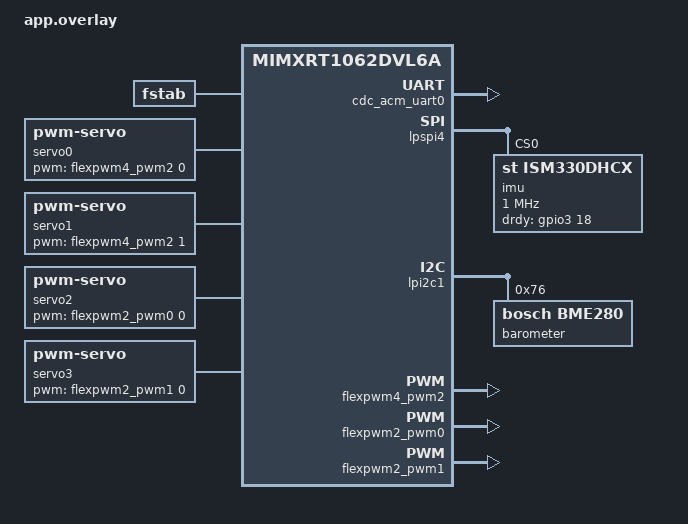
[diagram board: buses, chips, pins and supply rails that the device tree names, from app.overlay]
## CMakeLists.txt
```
cmake_minimum_required(VERSION 3.20.0)
find_package(Zephyr REQUIRED HINTS $ENV{ZEPHYR_BASE})
project(my_app)

include(${CMAKE_CURRENT_SOURCE_DIR}/sources.cmake)
```

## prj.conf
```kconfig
CONFIG_SERIAL=y
CONFIG_CONSOLE=y
CONFIG_UART_CONSOLE=y
CONFIG_STDOUT_CONSOLE=y
CONFIG_UART_LINE_CTRL=y

CONFIG_USB_DEVICE_STACK_NEXT=y
CONFIG_CDC_ACM_SERIAL_INITIALIZE_AT_BOOT=y
CONFIG_CDC_ACM_SERIAL_PID=0x0004
CONFIG_CDC_ACM_SERIAL_PRODUCT_STRING="USBD console sample"


CONFIG_SENSOR=y
CONFIG_SENSOR_ASYNC_API=y

CONFIG_RTIO=y
CONFIG_RTIO_SUBMIT_SEM=y

CONFIG_ISM330DHCX=y
CONFIG_ISM330DHCX_TRIGGER_GLOBAL_THREAD=y
CONFIG_SPI=y
CONFIG_SPI_RTIO=y
CONFIG_I2C=y
CONFIG_I2C_RTIO=y
CONFIG_GPIO=y
CONFIG_PWM=y

CONFIG_SENSOR_LOG_LEVEL_DBG=y
# CONFIG_SPI_LOG_LEVEL_DBG=y
# CONFIG_I2C_LOG_LEVEL_DBG=y
CONFIG_LOG=y

CONFIG_CBPRINTF_FP_SUPPORT=y
CONFIG_CBPRINTF_FULL_INTEGRAL=y
CONFIG_CBPRINTF_FP_A_SUPPORT=y

CONFIG_CMSIS_DSP=y
CONFIG_CMSIS_DSP_FILTERING=y

CONFIG_BOOT_DELAY=1000

CONFIG_CPP=y
CONFIG_STD_CPP17=y
CONFIG_RING_BUFFER=y

# Persistent log on the onboard flash, see logger.h.
CONFIG_FLASH=y
CONFIG_FLASH_MAP=y
CONFIG_FILE_SYSTEM=y
CONFIG_FILE_SYSTEM_LITTLEFS=y
```

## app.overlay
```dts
#include <zephyr/dt-bindings/sensor/ism330dhcx.h>
#include <nxp/nxp_imx/rt/mimxrt1062dvl6a-pinctrl.dtsi>

/ {
    chosen {
        zephyr,console = &cdc_acm_uart0;
        zephyr,shell-uart = &cdc_acm_uart0;
    };

    fstab {
        compatible = "zephyr,fstab";

        lfs: lfs {
            compatible = "zephyr,fstab,littlefs";
            mount-point = "/lfs";
            partition = <&storage_partition>;
            automount;
            read-size = <16>;
            prog-size = <16>;
            cache-size = <256>;
            lookahead-size = <32>;
            block-cycles = <512>;
        };
    };
    
	aliases {
		stream0 = &imu;
		stream1 = &barometer;
	};

    servo0: servo0 {
        compatible = "pwm-servo";
        pwms = <&flexpwm4_pwm2 0 PWM_MSEC(20) PWM_POLARITY_NORMAL>;
        min-pulse = <PWM_USEC(400)>;
        max-pulse = <PWM_USEC(2400)>;
    };

    servo1: servo1 {
        compatible = "pwm-servo";
        pwms = <&flexpwm4_pwm2 1 PWM_MSEC(20) PWM_POLARITY_NORMAL>;
        min-pulse = <PWM_USEC(400)>;
        max-pulse = <PWM_USEC(2400)>;
    };

    servo2: servod {
        compatible = "pwm-servo";
        pwms = <&flexpwm2_pwm0 0 PWM_MSEC(10) PWM_POLARITY_NORMAL>;
        min-pulse = <PWM_USEC(400)>;
        max-pulse = <PWM_USEC(2400)>;
    };

    servo3: servo3 {
        compatible = "pwm-servo";
        pwms = <&flexpwm2_pwm1 0 PWM_MSEC(20) PWM_POLARITY_NORMAL>;
        min-pulse = <PWM_USEC(400)>;
        max-pulse = <PWM_USEC(2400)>;
    };
};

&zephyr_udc0 {
    cdc_acm_uart0: cdc_acm_uart0 {
        compatible = "zephyr,cdc-acm-uart";
    };
};

&gpio3 {
    status = "okay";
};

/* Arduino SPI header (pins 10-13) on LPSPI4 */
&lpspi4 {
    transfer-delay = <50>;
    status = "okay";   
    pinctrl-0 = <&pinmux_lpspi4>;
    pcs-sck-delay= <25>;
    sck-pcs-delay= <25>;
    pinctrl-names = "default";

    //cs-gpios = <&gpio2 0 GPIO_ACTIVE_LOW>;

    imu: aism330dhcx@0 {
        compatible = "st,ism330dhcx";
        reg = <0>;
        spi-max-frequency = <1000000>;
        drdy-gpios = <&gpio3 18 GPIO_ACTIVE_HIGH>; //, <&gpio4 32 GPIO_ACTIVE_HIGH>;

        accel-odr = <ISM330DHCX_DT_ODR_1666Hz>;
        gyro-odr  = <ISM330DHCX_DT_ODR_1666Hz>;

        accel-range = <8>;      /* ±8 g */
        gyro-range  = <2000>;   /* ±2000 dps */
    };
};

&lpi2c1 {
    status = "okay";
    pinctrl-0 = <&pinmux_lpi2c1>;
    pinctrl-names = "default";

    barometer: bme280@76 {
        compatible = "bosch,bme280";
        reg = <0x76>;
    };
};

&pinctrl {
	pinmux_flexpwm4_ch2: pinmux_flexpwm4_ch2 {
		group0 {
			pinmux = <&iomuxc_gpio_emc_04_flexpwm4_pwma2>, //output A
                    <&iomuxc_gpio_emc_05_flexpwm4_pwmb2>; //output B
			drive-strength = "r0-7";
			slew-rate = "fast";
			nxp,speed = "200-mhz";
		};
	};

	pinmux_flexpwm2_ch0: pinmux_flexpwm4_ch0 {
		group0 {
			pinmux = <&iomuxc_gpio_emc_06_flexpwm2_pwma0>; //output A
			drive-strength = "r0-7";
			slew-rate = "fast";
			nxp,speed = "200-mhz";
		};
	};

	pinmux_flexpwm2_ch1: pinmux_flexpwm4_ch1 {
		group0 {
			pinmux = <&iomuxc_gpio_emc_08_flexpwm2_pwma1>; //output A
			drive-strength = "r0-7";
			slew-rate = "fast";
			nxp,speed = "200-mhz";
		};
	};
};

&flexpwm4_pwm2 {
	status = "okay";
	pinctrl-0 = <&pinmux_flexpwm4_ch2>;
	pinctrl-names = "default";
	nxp,prescaler = <64>;
    nxp,reload = "immediate";
};

&flexpwm2_pwm0 {
	status = "okay";
	pinctrl-0 = <&pinmux_flexpwm2_ch0>;
	pinctrl-names = "default";
	nxp,prescaler = <64>;
    nxp,reload = "immediate";
};

&flexpwm2_pwm1 {
	status = "okay";
	pinctrl-0 = <&pinmux_flexpwm2_ch1>;
	pinctrl-names = "default";
	nxp,prescaler = <64>;
    nxp,reload = "immediate";
};


/* Log storage on the onboard flash. The firmware sits at the bottom; Teensy
 * keeps its EEPROM emulation and recovery image in the top 256 KiB, from
 * 0x7c0000, so stay below that. */
&w25q64jvxgim {
    partitions {
        compatible = "fixed-partitions";
        #address-cells = <1>;
        #size-cells = <1>;

        storage_partition: partition@600000 {
            label = "storage";
            reg = <0x600000 DT_SIZE_K(1792)>;
        };
    };
};

/* The LPI2C pins are open drain. Without a sensor board (and its pull-ups) the
 * bus floats low and the BME280 probe waits forever, so boot never finishes.
 * Weak internal pull-ups make the probe fail cleanly instead; external
 * pull-ups on the real board still dominate. */
&pinmux_lpi2c1 {
    group0 {
        bias-pull-up;
        bias-pull-up-value = "22k";
    };
};
```

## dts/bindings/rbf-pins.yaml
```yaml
description: Pad configuration for the RBF pin

compatible: "app,rbf-pins"

include: [base.yaml, pinctrl-device.yaml]
```

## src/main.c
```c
#include <arm_math.h>
#include <assert.h>
#include <math.h>
#include <stdint.h>
#include <zephyr/drivers/pwm.h>
#include <zephyr/drivers/sensor.h>
#include <zephyr/kernel.h>
#include <zephyr/sys/printk.h>

#include "dsp/controller_functions.h"
#include "dsp/filtering_functions.h"
#include "guidance/filters.h"
#include "guidance/kalman.h"
#include "guidance/pid.h"
#include "logger.h"
#include "math/linmath.h"
#include "sensors.h"
#include "servo.h"
#include "zephyr/sys/time_units.h"

#define IMU_NODE DT_NODELABEL(imu)
#define BAROMETER_NODE DT_NODELABEL(barometer)

static const struct device *imu = DEVICE_DT_GET(IMU_NODE);
static const struct device *barometer = DEVICE_DT_GET(BAROMETER_NODE);

#define STEP PWM_USEC(10)

enum direction {
    DOWN,
    UP,
};

#define TASK_BAROMETER_READ_STACK_SIZE 4096
#define TASK_BAROMETER_READ_PRIORITY 1

K_THREAD_DEFINE(
    task_barometer_read_thread_id,
    TASK_BAROMETER_READ_STACK_SIZE,
    task_barometer_read,
    &barometer,
    NULL,
    NULL,
    TASK_BAROMETER_READ_PRIORITY,
    0,
    0
);

static int sweep_servo(const servo_t servo) {
    float angle = -90.0f;  // start at minimum position
    enum direction dir = UP;
    int ret;

    printk("Servomotor control (angle based)\n");

    if (!pwm_is_ready_dt(&servo.spec)) {
        printk("Error: PWM device %s is not ready\n", servo.spec.dev->name);
        return -ENODEV;
    }

    while (1) {
        ret = servo_set_angle(servo, angle);
        if (ret < 0) {
            printk("Error %d: failed to set angle %.1f\n", ret, (double)angle);
            return ret;
        }

        // Step size = degrees per iteration
        const float step_size = 1.0f;

        if (dir == UP) {
            angle += step_size;
            if (angle >= 90.0f) {
                angle = 90.0f;
                dir = DOWN;
            }
        } else {
            angle -= step_size;
            if (angle <= -90.0f) {
                angle = -90.0f;
                dir = UP;
            }
        }

        k_sleep(K_MSEC(20));  // Smooth sweep speed
    }

    return 0;
}

double pressure_to_altitude(double pressure_pa) {
    const double P0 = 101325.0;  // Sea level pressure (Pa)
    const double T0 = 288.15;  // Sea level temperature (K)
    const double L = 0.0065;  // Temperature lapse rate (K/m)
    const double g = 9.80665;  // Gravity (m/s²)
    const double R = 287.05;  // Specific gas constant (J/(kg·K))

    // Barometric formula: h = (T0 / L) * (1 - (P / P0)^(R*L/g))
    double exponent = (R * L) / g;
    double altitude = (T0 / L) * (1.0 - pow(pressure_pa / P0, exponent));

    return altitude;
}

void print_acceleration(const imu_sample_t *sample) {
    printf(
        "Acceleration [m/s²]: X=%f, Y=%f, Z=%f\n",
        (double)sample->acceleration[0],
        (double)sample->acceleration[1],
        (double)sample->acceleration[2]
    );
}

void transform_coords(imu_sample_t *imu_sample) {
    vec3 acc_old;
    vec3 gyro_old;
    vec3_dup(acc_old, imu_sample->acceleration);
    vec3_dup(gyro_old, imu_sample->angular_rate);

    imu_sample->acceleration[0] = -acc_old[2];
    imu_sample->acceleration[1] = acc_old[1];
    imu_sample->acceleration[2] = acc_old[0];

    imu_sample->angular_rate[0] = -gyro_old[2];
    imu_sample->angular_rate[1] = gyro_old[1];
    imu_sample->angular_rate[2] = gyro_old[0];
}

LINMATH_H_FUNC float quat_get_roll(quat const q) {
    float x = q[0];
    float y = q[1];
    float z = q[2];
    float w = q[3];

    float siny_cosp = 2.f * (w * z + x * y);
    float cosy_cosp = 1.f - 2.f * (y * y + z * z);

    return atan2f(siny_cosp, cosy_cosp);
}

int main(void) {
    barometer_init(barometer);
    viikate_log("barometer...", device_is_ready(barometer) ? "ok" : "failed");
    imu_init(imu);
    viikate_log("imu...", device_is_ready(imu) ? "ok" : "failed");

    imu_sample_t imu_sample;
    barometer_sample_t baro_sample;
    int ret;

    assert(imu_filter != NULL);

    float drift_last = 0.0f;

    vec3 avg_accel = {0}, avg_gyro = {0};

    vec3 g = {0};
#define AVG_COUNT 256
    for (int k_idx = 0; k_idx < AVG_COUNT; ++k_idx) {
        ret = k_msgq_get(&imu_msgq, &imu_sample, K_FOREVER);
        transform_coords(&imu_sample);
        vec3_add(g, g, imu_sample.acceleration);
    }
    vec3_scale(g, g, 1.0f / AVG_COUNT);

    kalman_filter_t k = kalman_init(g);

#define AVG_COUNT 256
    for (int k_idx = 0; k_idx < AVG_COUNT; ++k_idx) {
        ret = k_msgq_get(&imu_msgq, &imu_sample, K_FOREVER);
        transform_coords(&imu_sample);
        vec3 a;
        vec3_sub(a, imu_sample.acceleration, g);

        vec3_add(avg_accel, avg_accel, a);
        vec3_add(avg_gyro, avg_gyro, imu_sample.angular_rate);
    }

    vec3_scale(avg_accel, avg_accel, 1.0f / AVG_COUNT);
    vec3_scale(avg_gyro, avg_gyro, 1.0f / AVG_COUNT);

    vec3_dup(k.gyroscope_bias, avg_gyro);
    vec3_dup(k.accelerometer_bias, avg_accel);

    float base_altitude = 0.0f;
    for (int k_idx = 0; k_idx < 8; ++k_idx) {
        ret = k_msgq_get(&barometer_msgq, &baro_sample, K_FOREVER);

        base_altitude += pressure_to_altitude((double)baro_sample.pressure);
    }

    base_altitude *= 1.0f / 8;

    uint32_t loop_counter = 0;
    uint64_t time = 0;
    int loops = 0;

    roll_control_reset();

    while (1) {
        uint64_t start = k_ticks_to_ns_floor64(k_uptime_ticks());

        /* Read IMU if data is available */
        while ((ret = k_msgq_get(&imu_msgq, &imu_sample, K_NO_WAIT)) == 0) {
            transform_coords(&imu_sample);
            ekf_predict(&k, imu_sample);
            loops++;
        }

        time += k_ticks_to_ns_floor64(k_uptime_ticks()) - start;

        while ((ret = k_msgq_get(&barometer_msgq, &baro_sample, K_NO_WAIT))
               == 0) {
            float altitude = (float)pressure_to_altitude(baro_sample.pressure)
                - base_altitude;
            k.position[1] = altitude;
        }

        /* Print state every 500 iterations (~500 ms at 1 kHz) */
        if (loop_counter % 500 == 0) {
            printk(
                "loops: %d total_time: %f time_per_kalman: %f\n",
                loops,
                (double)((float)time * 1e-9f),
                (double)((float)time * 1e-9f / (float)(loops > 0 ? loops : 1))
            );
            printk(
                "STATE:\n"
                "    pos = [%.3f, %.3f, %.3f]\n"
                "    vel = [%.3f, %.3f, %.3f]\n"
                "    ori = [%.4f, %.4f, %.4f, %.4f]\n"
                "    ang_vel = [%.4f, %.4f, %.4f]\n"
                "    acc_bias = [%.4f, %.4f, %.4f]\n"
                "    gyro_bias = [%.4f, %.4f, %.4f]\n"
                "    g = %.4f\n"
                "    t_last = %llu ns\n",
                (double)k.position[0],
                (double)k.position[1],
                (double)k.position[2],
                (double)k.velocity[0],
                (double)k.velocity[1],
                (double)k.velocity[2],
                (double)k.orientation[0],
                (double)k.orientation[1],
                (double)k.orientation[2],
                (double)k.orientation[3],
                (double)k.angular_velocity[0],
                (double)k.angular_velocity[1],
                (double)k.angular_velocity[2],
                (double)k.accelerometer_bias[0],
                (double)k.accelerometer_bias[1],
                (double)k.accelerometer_bias[2],
                (double)k.gyroscope_bias[0],
                (double)k.gyroscope_bias[1],
                (double)k.gyroscope_bias[2],
                (double)k.gravity,
                (unsigned long long)k.last_measurement_timestamp_ns
            );
            loops = 0;
        }

        static uint64_t last_roll_update_ns;

        if (loop_counter % 20 == 0) {
            uint64_t now = k_ticks_to_ns_floor64(k_uptime_ticks());
            float dt = last_roll_update_ns == 0
                ? 0.02f
                : (float)(now - last_roll_update_ns) * 1e-9f;
            last_roll_update_ns = now;

            roll_control_update(quat_get_roll(k.orientation), 0.0f, dt);
        }

        loop_counter++;
        k_sleep(K_MSEC(1));  // 1 kHz update rate
    }
}
```

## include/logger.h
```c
#ifndef VIIKATE_LOGGER_H
#define VIIKATE_LOGGER_H

/*
 * Non-blocking line logger.
 *
 *     viikate_log("barometer...", "ok");
 *     viikate_log("pressure", pressure, "Pa after", tries, "tries");
 *
 * Arguments are printed separated by spaces and a newline is appended. Strings,
 * chars, bools, every integer and floating point type and pointers work, from
 * both C and C++. Lines longer than VIIKATE_LOG_MAX_LINE_LEN are cut off.
 *
 * The line is formatted on the caller's stack and only handed over once it is
 * complete, so a line is never flushed half written. A low priority thread
 * then prints it to the console and appends it to VIIKATE_LOG_FILE. The caller
 * never waits on the console or the flash, so logging is safe from control
 * loops and ISRs. If the buffer is full the line is dropped, viikate_log()
 * evaluates to false and the flush thread reports how many lines were lost.
 *
 * When the log file would grow past VIIKATE_LOG_FILE_MAX_SIZE it is rotated:
 * log.txt becomes log.1.txt, log.1.txt becomes log.2.txt and so on. At most
 * VIIKATE_LOG_FILE_COUNT files are kept, the oldest one is deleted.
 */

#include <stdbool.h>
#include <stddef.h>

#define VIIKATE_LOG_MAX_LINE_LEN 200
#define VIIKATE_LOG_DIR "/lfs"
#define VIIKATE_LOG_FILE VIIKATE_LOG_DIR "/log.txt"
#define VIIKATE_LOG_FILE_MAX_SIZE (64 * 1024)
#define VIIKATE_LOG_FILE_COUNT 4

#ifdef __cplusplus
extern "C" {
#endif

/* A line being assembled. Use viikate_log() instead of these directly. */
typedef struct {
    char text[VIIKATE_LOG_MAX_LINE_LEN + 1];
    size_t len;
    size_t args;
} viikate_log_line_t;

void viikate_log_begin(viikate_log_line_t *line);
void viikate_log_put_str(viikate_log_line_t *line, const char *value);
void viikate_log_put_char(viikate_log_line_t *line, char value);
void viikate_log_put_bool(viikate_log_line_t *line, bool value);
void viikate_log_put_int(viikate_log_line_t *line, long long value);
void viikate_log_put_uint(viikate_log_line_t *line, unsigned long long value);
void viikate_log_put_float(viikate_log_line_t *line, float value);
void viikate_log_put_double(viikate_log_line_t *line, double value);
void viikate_log_put_ptr(viikate_log_line_t *line, const void *value);
bool viikate_log_end(viikate_log_line_t *line);

#ifdef __cplusplus
}

namespace viikate {
namespace detail {
    // clang-format off
    inline void put(viikate_log_line_t *l, const char *v) { viikate_log_put_str(l, v); }
    inline void put(viikate_log_line_t *l, char v) { viikate_log_put_char(l, v); }
    inline void put(viikate_log_line_t *l, bool v) { viikate_log_put_bool(l, v); }
    inline void put(viikate_log_line_t *l, signed char v) { viikate_log_put_int(l, v); }
    inline void put(viikate_log_line_t *l, short v) { viikate_log_put_int(l, v); }
    inline void put(viikate_log_line_t *l, int v) { viikate_log_put_int(l, v); }
    inline void put(viikate_log_line_t *l, long v) { viikate_log_put_int(l, v); }
    inline void put(viikate_log_line_t *l, long long v) { viikate_log_put_int(l, v); }
    inline void put(viikate_log_line_t *l, unsigned char v) { viikate_log_put_uint(l, v); }
    inline void put(viikate_log_line_t *l, unsigned short v) { viikate_log_put_uint(l, v); }
    inline void put(viikate_log_line_t *l, unsigned int v) { viikate_log_put_uint(l, v); }
    inline void put(viikate_log_line_t *l, unsigned long v) { viikate_log_put_uint(l, v); }
    inline void put(viikate_log_line_t *l, unsigned long long v) { viikate_log_put_uint(l, v); }
    inline void put(viikate_log_line_t *l, float v) { viikate_log_put_float(l, v); }
    inline void put(viikate_log_line_t *l, double v) { viikate_log_put_double(l, v); }
    inline void put(viikate_log_line_t *l, long double v) { viikate_log_put_double(l, static_cast<double>(v)); }
    inline void put(viikate_log_line_t *l, const void *v) { viikate_log_put_ptr(l, v); }

    // clang-format on
}  // namespace detail

template<typename... Args>
bool log(const Args &...args) noexcept {
    viikate_log_line_t line;
    viikate_log_begin(&line);
    (detail::put(&line, args), ...);
    return viikate_log_end(&line);
}
}  // namespace viikate

    #define viikate_log(...) ::viikate::log(__VA_ARGS__)

#else

    #include <zephyr/sys/util_macro.h>

    // clang-format off
    #define VIIKATE_LOG_PUT_(value, line) \
        _Generic((value), \
            char *: viikate_log_put_str, \
            const char *: viikate_log_put_str, \
            char: viikate_log_put_char, \
            bool: viikate_log_put_bool, \
            signed char: viikate_log_put_int, \
            short: viikate_log_put_int, \
            int: viikate_log_put_int, \
            long: viikate_log_put_int, \
            long long: viikate_log_put_int, \
            unsigned char: viikate_log_put_uint, \
            unsigned short: viikate_log_put_uint, \
            unsigned int: viikate_log_put_uint, \
            unsigned long: viikate_log_put_uint, \
            unsigned long long: viikate_log_put_uint, \
            float: viikate_log_put_float, \
            double: viikate_log_put_double, \
            long double: viikate_log_put_double, \
            default: viikate_log_put_ptr)(line, value)

    #define viikate_log(...) \
        ({ \
            viikate_log_line_t viikate_log_line_; \
            viikate_log_begin(&viikate_log_line_); \
            FOR_EACH_FIXED_ARG(VIIKATE_LOG_PUT_, (;), &viikate_log_line_, __VA_ARGS__); \
            viikate_log_end(&viikate_log_line_); \
        })
    // clang-format on

#endif

#endif
```

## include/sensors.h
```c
#pragma once

#include <stdint.h>
#include <zephyr/kernel.h>

#include "math/linmath.h"

typedef struct {
    uint64_t timestamp_ns;
    vec3 acceleration;
    vec3 angular_rate;
} imu_sample_t;

typedef struct {
    uint64_t timestamp_ns;
    float temperature;
    float pressure;
} barometer_sample_t;

extern struct k_msgq imu_msgq;
extern struct k_msgq barometer_msgq;

void task_barometer_read(void *arg1, void *arg2, void *arg3);

int imu_init(const struct device *imu);
int barometer_init(const struct device *barometer);

int rbf_init(void);
bool rbf_is_removed(void);
```

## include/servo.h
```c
#pragma once

#include <stdint.h>

#include "zephyr/drivers/pwm.h"

typedef struct {
    struct pwm_dt_spec spec;
    uint32_t min_pulse;
    uint32_t max_pulse;
} servo_t;

#define DT_SERVO_GET(nodelabel) \
    (servo_t) { \
        .spec = PWM_DT_SPEC_GET(nodelabel), \
        .min_pulse = DT_PROP(nodelabel, min_pulse), \
        .max_pulse = DT_PROP(nodelabel, max_pulse) \
    }

int servo_set_angle(const servo_t servo, float angle);
```

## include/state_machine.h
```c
#pragma once
#include "guidance/kalman.h"

typedef enum {
    Boot,
    Safe,
    Pad,
    Launch,
    Guidance,
    Fault,
    Recovery,
    Landing,
    Abort,
} FLIGHTSTATE;

typedef struct {
    FLIGHTSTATE previous_state;
    FLIGHTSTATE current_state;
    float pad_altitude;  // m
    uint64_t checklist_time;  // ms
    uint64_t liftoff_time;  // ms
    uint64_t fault_entry_time;  // ms
    float landing_reference_altitude;  // m
    uint64_t landing_stable_since;  // ....
    uint64_t fault_activation_time;
    bool landing_timer_running;

} state_machine;

FLIGHTSTATE
state_machine_update(const kalman_filter_t *k, const imu_sample_t *is);
```

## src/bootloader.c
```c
/*
 * Reboot into the Teensy bootloader when the host opens the console at
 * 134 baud, the same convention Teensyduino and teensy_loader_cli use. This
 * lets the board be reflashed without pressing the PROGRAM button.
 */
#include <stdint.h>
#include <zephyr/device.h>
#include <zephyr/drivers/uart.h>
#include <zephyr/kernel.h>

#define REBOOT_BAUD 134
#define POLL_MS 50

static void watch_console(void *arg1, void *arg2, void *arg3) {
    const struct device *console = DEVICE_DT_GET(DT_CHOSEN(zephyr_console));
    (void)arg1;
    (void)arg2;
    (void)arg3;

    for (;;) {
        uint32_t baud = 0;

        if (device_is_ready(console)
            && uart_line_ctrl_get(console, UART_LINE_CTRL_BAUD_RATE, &baud) == 0
            && baud == REBOOT_BAUD) {
            // The Teensy's bootloader chip catches this breakpoint and
            // takes over, exactly like Teensyduino's reboot.
            __asm__ volatile("bkpt #251");
        }
        k_msleep(POLL_MS);
    }
}

K_THREAD_DEFINE(
    bootloader_watch_thread_id,
    512,
    watch_console,
    NULL,
    NULL,
    NULL,
    K_LOWEST_APPLICATION_THREAD_PRIO,
    0,
    0
);
```

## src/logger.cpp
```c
#include "logger.h"

#include <errno.h>
#include <stdarg.h>
#include <stdint.h>
#include <string.h>
#include <zephyr/fs/fs.h>
#include <zephyr/kernel.h>
#include <zephyr/spinlock.h>
#include <zephyr/sys/printk.h>
#include <zephyr/sys/ring_buffer.h>
#include <zephyr/sys/util.h>

namespace {
constexpr uint32_t BUFFER_SIZE = 4096;
constexpr size_t LINE_CAPACITY = VIIKATE_LOG_MAX_LINE_LEN;
// One full line plus its newline always fits in a flush.
constexpr uint32_t FLUSH_CHUNK = LINE_CAPACITY + 1;
constexpr size_t FLUSH_STACK_SIZE = 2048;
// Below every other application thread: logging never delays control.
constexpr int FLUSH_PRIORITY = K_LOWEST_APPLICATION_THREAD_PRIO;

constexpr char NEWLINE = '\n';

k_spinlock lock;
uint32_t dropped;  // guarded by lock

void flush_thread(void *, void *, void *);
}  // namespace

RING_BUF_DECLARE(viikate_log_buffer, BUFFER_SIZE);
K_SEM_DEFINE(viikate_log_pending, 0, 1);
K_THREAD_DEFINE(
    viikate_log_thread,
    FLUSH_STACK_SIZE,
    flush_thread,
    NULL,
    NULL,
    NULL,
    FLUSH_PRIORITY,
    0,
    0
);

namespace {
// Formatting. Runs on the caller's stack and never blocks.

void separate(viikate_log_line_t *line) {
    if (line->args++ > 0 && line->len < LINE_CAPACITY) {
        line->text[line->len++] = ' ';
        line->text[line->len] = '\0';
    }
}

void append(viikate_log_line_t *line, const char *fmt, ...) {
    separate(line);

    va_list ap;
    va_start(ap, fmt);
    int n = vsnprintk(
        line->text + line->len,
        LINE_CAPACITY + 1 - line->len,
        fmt,
        ap
    );
    va_end(ap);

    if (n > 0) {
        line->len = MIN(line->len + static_cast<size_t>(n), LINE_CAPACITY);
    }
}

// Output. Runs in the flush thread only.

fs_file_t file;
bool file_open;
bool file_disabled;
size_t file_size;

void rotated_name(char (&out)[32], int index) {
    snprintk(out, sizeof(out), VIIKATE_LOG_DIR "/log.%d.txt", index);
}

int open_file() {
    fs_file_t_init(&file);
    int rc = fs_open(
        &file,
        VIIKATE_LOG_FILE,
        FS_O_CREATE | FS_O_WRITE | FS_O_APPEND
    );
    if (rc != 0) {
        return rc;
    }
    file_open = true;

    fs_dirent entry;
    rc = fs_stat(VIIKATE_LOG_FILE, &entry);
    file_size = rc == 0 ? entry.size : 0;
    return 0;
}

int rotate() {
    char from[32];
    char to[32];

    fs_close(&file);
    file_open = false;

    rotated_name(to, VIIKATE_LOG_FILE_COUNT - 1);
    int rc = fs_unlink(to);
    if (rc != 0 && rc != -ENOENT) {
        return rc;
    }
    for (int i = VIIKATE_LOG_FILE_COUNT - 2; i >= 1; --i) {
        rotated_name(from, i);
        rotated_name(to, i + 1);
        rc = fs_rename(from, to);
        if (rc != 0 && rc != -ENOENT) {
            return rc;
        }
    }
    rotated_name(to, 1);
    rc = fs_rename(VIIKATE_LOG_FILE, to);
    if (rc != 0) {
        return rc;
    }
    return open_file();
}

void disable_file(int rc) {
    printk("log: %s unavailable (%d), console only\n", VIIKATE_LOG_FILE, rc);
    if (file_open) {
        fs_close(&file);
        file_open = false;
    }
    file_disabled = true;
}

// text holds whole lines only, so a line never straddles two files.
void write_file(const char *text, size_t len) {
    if (file_disabled) {
        return;
    }

    int rc = file_open ? 0 : open_file();
    if (rc == 0 && file_size > 0
        && file_size + len > VIIKATE_LOG_FILE_MAX_SIZE) {
        rc = rotate();
    }
    if (rc == 0) {
        ssize_t n = fs_write(&file, text, len);
        if (n < 0) {
            rc = static_cast<int>(n);
        } else if (static_cast<size_t>(n) != len) {
            rc = -ENOSPC;
        } else {
            file_size += len;
        }
    }
    if (rc != 0) {
        disable_file(rc);
    }
}

void output(const char *text, size_t len) {
    printk("%s", text);
    write_file(text, len);
}

// Moves whole lines out of the buffer into out, NUL terminated.
// Returns the number of bytes taken, 0 when the buffer is empty.
uint32_t take_lines(char (&out)[FLUSH_CHUNK + 1]) {
    k_spinlock_key_t key = k_spin_lock(&lock);
    uint32_t n = ring_buf_peek(
        &viikate_log_buffer,
        reinterpret_cast<uint8_t *>(out),
        FLUSH_CHUNK
    );
    while (n > 0 && out[n - 1] != NEWLINE) {
        --n;
    }
    ring_buf_get(&viikate_log_buffer, nullptr, n);
    k_spin_unlock(&lock, key);

    out[n] = '\0';
    return n;
}

uint32_t take_dropped() {
    k_spinlock_key_t key = k_spin_lock(&lock);
    uint32_t n = dropped;
    dropped = 0;
    k_spin_unlock(&lock, key);
    return n;
}

void flush_thread(void *, void *, void *) {
    static char chunk[FLUSH_CHUNK + 1];

    for (;;) {
        k_sem_take(&viikate_log_pending, K_FOREVER);

        uint32_t n;
        while ((n = take_lines(chunk)) > 0) {
            output(chunk, n);
        }

        uint32_t lost = take_dropped();
        if (lost > 0) {
            int len =
                snprintk(chunk, sizeof(chunk), "log: dropped %u lines\n", lost);
            output(chunk, static_cast<size_t>(len));
        }

        // Commit to flash, so everything flushed so far survives power loss.
        if (file_open) {
            int rc = fs_sync(&file);
            if (rc != 0) {
                disable_file(rc);
            }
        }
    }
}
}  // namespace

void viikate_log_begin(viikate_log_line_t *line) {
    line->text[0] = '\0';
    line->len = 0;
    line->args = 0;
}

void viikate_log_put_str(viikate_log_line_t *line, const char *value) {
    append(line, "%s", value != nullptr ? value : "(null)");
}

void viikate_log_put_char(viikate_log_line_t *line, char value) {
    append(line, "%c", value);
}

void viikate_log_put_bool(viikate_log_line_t *line, bool value) {
    append(line, "%s", value ? "true" : "false");
}

void viikate_log_put_int(viikate_log_line_t *line, long long value) {
    append(line, "%lld", value);
}

void viikate_log_put_uint(viikate_log_line_t *line, unsigned long long value) {
    append(line, "%llu", value);
}

void viikate_log_put_float(viikate_log_line_t *line, float value) {
    append(line, "%g", static_cast<double>(value));
}

void viikate_log_put_double(viikate_log_line_t *line, double value) {
    append(line, "%g", value);
}

void viikate_log_put_ptr(viikate_log_line_t *line, const void *value) {
    append(line, "%p", value);
}

bool viikate_log_end(viikate_log_line_t *line) {
    bool queued = false;

    k_spinlock_key_t key = k_spin_lock(&lock);
    // All or nothing, so the console and the file never get half a line.
    if (ring_buf_space_get(&viikate_log_buffer) >= line->len + 1) {
        ring_buf_put(
            &viikate_log_buffer,
            reinterpret_cast<const uint8_t *>(line->text),
            line->len
        );
        ring_buf_put(
            &viikate_log_buffer,
            reinterpret_cast<const uint8_t *>(&NEWLINE),
            1
        );
        queued = true;
    } else {
        ++dropped;
    }
    k_spin_unlock(&lock, key);

    // Never blocks, and is safe from ISRs.
    k_sem_give(&viikate_log_pending);
    return queued;
}
```

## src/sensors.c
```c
#include "sensors.h"

#include <stdalign.h>
#include <zephyr/drivers/sensor.h>

#include "math/linmath.h"
#include "zephyr/device.h"
#include "zephyr/kernel.h"
#include "zephyr/sys/printk.h"

#define IMU_QUEUE_SIZE 64
#define BAROMETER_QUEUE_SIZE 16
#define BAROMETER_TASK_FREQUENCY_HZ 10
#define BAROMETER_TASK_PERIOD (1000 / BAROMETER_TASK_FREQUENCY_HZ)

K_MSGQ_DEFINE(
    imu_msgq,
    sizeof(imu_sample_t),
    IMU_QUEUE_SIZE,
    alignof(imu_sample_t)
);

K_MSGQ_DEFINE(
    barometer_msgq,
    sizeof(barometer_sample_t),
    IMU_QUEUE_SIZE,
    alignof(barometer_sample_t)
);

static void imu_trigger_handler(
    const struct device *dev,
    const struct sensor_trigger *trig
) {
    struct sensor_value accel[3];
    struct sensor_value gyro[3];
    int rc;

    rc = sensor_sample_fetch(dev);
    if (rc) {
        return;  // or count errors
    }

    rc = sensor_channel_get(dev, SENSOR_CHAN_ACCEL_XYZ, accel);
    if (rc)
        return;

    rc = sensor_channel_get(dev, SENSOR_CHAN_GYRO_XYZ, gyro);
    if (rc)
        return;

    imu_sample_t s;
    s.timestamp_ns = k_ticks_to_ns_floor64(k_uptime_ticks());

    vec3 acceleration = {
        sensor_value_to_float(&accel[0]),
        sensor_value_to_float(&accel[1]),
        sensor_value_to_float(&accel[2])
    };

    vec3 angular_acceleration = {
        sensor_value_to_float(&gyro[0]),
        sensor_value_to_float(&gyro[1]),
        sensor_value_to_float(&gyro[2])
    };

    vec3_dup(s.acceleration, acceleration);
    vec3_dup(s.angular_rate, angular_acceleration);

    // DDR(Jozef): this drops the old sample if we run out of space which should be fine for the IMU
    while (k_msgq_put(&imu_msgq, &s, K_NO_WAIT) != 0) {
        k_msgq_purge(&imu_msgq);
    }
}

int imu_init(const struct device *imu) {
    int ret;

    ret = device_is_ready(imu);
    if (ret == 0) {
        printk("IMU is not ready: %d!\n", ret);
        return ret;
    }

    struct sensor_trigger trig = {
        .type = SENSOR_TRIG_DATA_READY,
        .chan = SENSOR_CHAN_ACCEL_XYZ,
    };

    ret = sensor_trigger_set(imu, &trig, imu_trigger_handler);
    if (ret != 0) {
        printk("Trigger set for IMU failed: %d\n", ret);
        return ret;
    }

    printk("IMU initialized successfuly\n");

    return 0;
}

void task_barometer_read(void *arg1, void *arg2, void *arg3) {
    struct device *barometer = *(struct device **)arg1;
    (void)arg2;
    (void)arg3;

    // barometer_init() may retry the driver later; until then there is
    // nothing to read, and failing every millisecond floods the console.
    while (!device_is_ready(barometer)) {
        k_msleep(100);
    }

    while (1) {
        uint64_t start_time = k_uptime_get();

        int rc;

        rc = sensor_sample_fetch(barometer);
        if (rc) {
            printk("Barometer fetch failed: %d\n", rc);
            k_msleep(1);
            continue;
        }

        struct sensor_value pressure;
        struct sensor_value temperature;
        rc = sensor_channel_get(barometer, SENSOR_CHAN_PRESS, &pressure);
        rc = sensor_channel_get(
            barometer,
            SENSOR_CHAN_AMBIENT_TEMP,
            &temperature
        );
        if (rc) {
            printk("Barometer decode failed: %d\n", rc);
            k_msleep(1);
            continue;
        }

        uint64_t elapsed = k_uptime_get() - start_time;

        barometer_sample_t s = {
            .timestamp_ns = k_ticks_to_ns_floor64(k_uptime_ticks()),
            .pressure = sensor_value_to_float(&pressure),
            .temperature = sensor_value_to_float(&temperature)
        };

        k_msgq_put(&barometer_msgq, &s, K_NO_WAIT);

        if (elapsed < BAROMETER_TASK_PERIOD) {
            k_msleep(BAROMETER_TASK_PERIOD - elapsed);
        }
    }
}

int barometer_init(const struct device *barometer) {
    int ret;

    ret = device_is_ready(barometer);
    if (ret == 0) {
        printk("Barometer is not ready: %d!\n", ret);
        k_msleep(10);
        device_init(barometer);
        ret = device_is_ready(barometer);
        if (ret == 0)
            return 0;
        return ret;
    }

    printk("Barometer initialized successfuly\n");

    return 0;
}
```

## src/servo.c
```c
#include "servo.h"

#include <math.h>

#include "zephyr/drivers/pwm.h"

int servo_set_angle(const servo_t servo, float angle) {
    float clamped = fminf(fmaxf(angle, -90.0f), 90.0f);
    float percent = (clamped + 90.0f) / 180.f;
    float range = (float)(servo.max_pulse - servo.min_pulse);
    uint32_t pulse = (uint32_t)(range * percent) + servo.min_pulse;

    int ret = pwm_set_pulse_dt(&servo.spec, pulse);
    return ret;
}
```

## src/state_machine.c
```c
#include "state_machine.h"

#include <assert.h>
#include <math.h>
#include <zephyr/kernel.h>
#include <zephyr/sys/time_units.h>

#include "guidance/kalman.h"

#define GYRO_BIAS_MAX 1.0f  // rad/s
#define ACCELERATION_BIAS_MAX 0.5f  // m/s^2
#define LAUNCH_ACCEL_THRESHOLD \
    16.0f  // m/s^2 (Absolute value including gravity)
#define LAUNCH_ALT_THRESHOLD 25.0f  // meters (Above launch pad)
#define GUIDANCE_ALT_START 30.0f  // meters (Above launch pad)
#define RECOVERY_DEPLOYMENT_TIME \
    20.0f  // s (When recovery is forced after launch. Should be apogee + some margin)
#define MAX_FLIGHT_TIME 240.0f  // s (When landing is forced after launch)
#define CHECKLIST_TIMEOUT 60.0f  // s (Checklist fails after this time)
#define FAULT_CONFIRMATION_TIME 1.0f  // s (Fault must be active for this long)
#define LANDING_ALTITUDE_TOLERANCE \
    0.25f  // m (How much altitude can fluctuate in landing state)
#define LANDING_STABLE_TIME \
    5.0f  // s (How long altitude should stay within tolerance for landing to be detected)
#define LANDING_SPEED_TOLERANCE \
    0.5f  // m/s (How much speed can fluctuate in landing state)
#define BATTERY_VOLTAGE_MIN 4.5f  // v TODO: NOT IN USE
#define GRAVITY_NOMINAL 9.81f  // m/s^2

static_assert(GYRO_BIAS_MAX > 0.0f, "Gyro bias max must be positive!");
static_assert(
    ACCELERATION_BIAS_MAX > 0.0f,
    "Acceleration bias max must be positive!"
);
static_assert(
    LAUNCH_ACCEL_THRESHOLD > GRAVITY_NOMINAL,
    "Launch acceleration threshold must exceed nominal gravity to be detectable!"
);
static_assert(
    LAUNCH_ALT_THRESHOLD < GUIDANCE_ALT_START,
    "Launch altitude threshold must be less than guidance start altitude!"
);
static_assert(
    RECOVERY_DEPLOYMENT_TIME < MAX_FLIGHT_TIME,
    "Recovery activation time must be less than total flight time!"
);
static_assert(CHECKLIST_TIMEOUT > 0.0f, "Checklist timeout must be positive!");
static_assert(
    FAULT_CONFIRMATION_TIME > 0.0f,
    "Fault confirmation time must be positive!"
);
static_assert(
    LANDING_ALTITUDE_TOLERANCE > 0.0f,
    "Landing altitude tolerance must be positive!"
);
static_assert(
    LANDING_STABLE_TIME > 0.0f,
    "Landing stable time must be positive!"
);
static_assert(
    LANDING_SPEED_TOLERANCE > 0.0f,
    "Landing speed tolerance must be positive!"
);

// Helpers
static float norm3(const float v[3]) {
    return sqrtf(v[0] * v[0] + v[1] * v[1] + v[2] * v[2]);
}

static float norm4(const float v[4]) {
    return sqrtf(v[0] * v[0] + v[1] * v[1] + v[2] * v[2] + v[3] * v[3]);
}

static state_machine machine = {
    .previous_state = Boot,
    .current_state = Boot,
    .pad_altitude = 0.0f,
    .checklist_time = 0.0f,
    .liftoff_time = 0.0f,
    .fault_entry_time = 0.0f,
    .landing_reference_altitude = 0.0f,
    .landing_stable_since = 0.0f,
    .landing_timer_running = false,

};

static bool safe_check(
    const kalman_filter_t *k,
    const imu_sample_t *is
) {  // TODO: Do we inted to boot with the RBF in?
    return fabsf(norm3(is->acceleration) - GRAVITY_NOMINAL)
        < LAUNCH_ACCEL_THRESHOLD
        && !rbf_is_removed()
        && k_ticks_to_ns_floor64(k_uptime_ticks()) * 1e-9f
        > 5.0f;  // Stabilizing after boot for 5s before system can proceed
}

static bool pad_check(const kalman_filter_t *k) {
    if (!rbf_is_removed()) {
        return false;
    }
    if (machine.checklist_time == 0.0f) {
        machine.checklist_time = k_ticks_to_ns_floor64(k_uptime_ticks());
    }
    if (norm3(k->accelerometer_bias) > ACCELERATION_BIAS_MAX
        || norm3(k->gyroscope_bias) > GYRO_BIAS_MAX) {
        printk("IMU BIAS TOO HIGH");
        return false;
    }
    if (0) {  // TODO: Orientation check
        printk("ORIENTATION FAIL");
        return false;
    }
    if (0) {  // TODO: battery measurement at the launchpad
        printk("BATTERY FAIL");
        return false;
    }

    if (0) {  // TODO: sd card inserted
        printk("SD CARD FAIL");
        return false;
    }

    return true;
}

static bool launch_check(const kalman_filter_t *k, const imu_sample_t *is) {
    return (
        (k->position[1] > machine.pad_altitude + LAUNCH_ALT_THRESHOLD)
        || norm3(is->acceleration) > LAUNCH_ACCEL_THRESHOLD
    );
}

static bool guidance_check(const kalman_filter_t *k) {
    return (k->position[1] > machine.pad_altitude + GUIDANCE_ALT_START);
}

static bool fault_check(const kalman_filter_t *k, const imu_sample_t *is) {
    // Finite values:
    for (int i = 0; i < 3; i++) {
        if (!isfinite(k->position[i]) || !isfinite(k->velocity[i])
            || !isfinite(k->angular_velocity[i])
            || !isfinite(k->accelerometer_bias[i])
            || !isfinite(k->gyroscope_bias[i])) {
            return true;
        }
    }
    if (!isfinite(k->orientation[0]) || !isfinite(k->orientation[1])
        || !isfinite(k->orientation[2]) || !isfinite(k->orientation[3])
        || !isfinite(k->gravity)) {
        return true;
    }

    // Quaternion scale:
    float qnormalized = norm4(k->orientation);
    if (qnormalized < 0.95f || qnormalized > 1.05f) {
        return true;
    }

    // Time from last measurement:
    if (machine.current_state > Safe
        && (k->last_measurement_timestamp_ns != 0
            && (k_ticks_to_ns_floor64(k_uptime_ticks())
                - k->last_measurement_timestamp_ns)
                > 100000000ULL)) {  // Must measure atleast every 100 ms
        return true;
    }

    // Speed reasonable:
    if (machine.current_state >= Launch && norm3(k->velocity) > 300.0f) {
        return true;
    }

    // Booting in flight
    if (machine.current_state == Boot
        && norm3(is->acceleration) > LAUNCH_ACCEL_THRESHOLD
        && rbf_is_removed()) {
        return true;
    }
    return false;
}

static bool recovery_check(const kalman_filter_t *k) {
    const int64_t now_ns = k_ticks_to_ns_floor64(k_uptime_ticks());
    static int64_t start_time = 0.0f;
    static bool timing_active = false;

    if ((k->position[1] > (machine.pad_altitude + LAUNCH_ALT_THRESHOLD)
         && k->velocity[1] < 0.0f && rbf_is_removed())) {
        if (!timing_active) {
            timing_active = true;
            start_time = now_ns;
        }
    } else {
        timing_active = false;
        return false;
    }
    return (
        (now_ns - start_time) * 1e-9f >= 1.0f
    );  // Recovery activates when conditions apply for 1 second
}

static bool landing_check(const kalman_filter_t *k, const imu_sample_t *is) {
    const int64_t now_ns = k_ticks_to_ns_floor64(k_uptime_ticks());
    const float altitude = k->position[1];
    const float altitude_difference =
        fabsf(altitude - machine.landing_reference_altitude);
    const float stable_time =
        (float)(now_ns - machine.landing_stable_since) * 1e-9f;

    if (!machine.landing_timer_running) {
        machine.landing_reference_altitude = altitude;
        machine.landing_stable_since = now_ns;
        machine.landing_timer_running = true;
        return false;
    }

    if (altitude_difference > LANDING_ALTITUDE_TOLERANCE
        || norm3(k->velocity) > LANDING_SPEED_TOLERANCE) {
        machine.landing_timer_running = false;
        return false;
    }

    // Confirm landing only after altitude has remained stable and total speed is sufficiently low
    return (
        stable_time >= LANDING_STABLE_TIME
        && norm3(k->velocity) < LANDING_SPEED_TOLERANCE
    );  // TODO: Acceleration here
}

static void entry_action(
    const FLIGHTSTATE entered_state,
    const kalman_filter_t *k,
    const int64_t now_ns
) {
    switch (entered_state) {
        case Safe:
            break;
        case Pad:
            machine.pad_altitude = (float)k->position[1];
            break;
        case Launch:
            if (machine.liftoff_time == 0.0) {
                machine.liftoff_time = now_ns;
            }
            break;
        case Guidance:
            break;
        case Recovery:
            break;
        case Landing:
            break;
        case Fault:
            machine.fault_entry_time = now_ns;
            break;
        case Abort:
            break;
        default:
            break;
    }
}

FLIGHTSTATE
state_machine_update(const kalman_filter_t *k, const imu_sample_t *is) {
    const int64_t now_ns = k_ticks_to_ns_floor64(k_uptime_ticks());
    const float time_flight = (float)(now_ns - machine.liftoff_time) * 1e-9f;

    FLIGHTSTATE temp_state = machine.current_state;
    switch (machine.current_state) {
        case Boot:
            if (safe_check(k, is)) {
                machine.current_state = Safe;
            }
            break;
        case Safe:
            if (pad_check(k)) {
                machine.current_state = Pad;
            } else if (machine.checklist_time != 0.0
                       && (now_ns - machine.checklist_time) * 1e-9f
                           >= CHECKLIST_TIMEOUT) {
                machine.current_state = Abort;
            }
            break;
        case Pad:
            if (launch_check(k, is)) {
                machine.current_state = Launch;
            }
            break;
        case Launch:
            if (guidance_check(k)) {
                machine.current_state = Guidance;
            }
            break;
        case Guidance:
            if (recovery_check(k)) {
                machine.current_state = Recovery;
            }
            break;
        case Recovery:
            if (landing_check(k, is)) {
                machine.current_state = Landing;
            }
            break;
        case Landing:
            break;
        case Fault:  // Vehicle is made safe
            if (machine.liftoff_time == 0.0f
                && norm3(is->acceleration) < LAUNCH_ACCEL_THRESHOLD) {
                machine.current_state = Abort;
            } else {
                if (time_flight > MAX_FLIGHT_TIME) {
                    machine.current_state = Landing;
                } else if (recovery_check(k)) {
                    machine.current_state = Recovery;
                }  // Only activate recovery when speed allows
            }
            break;
        case Abort:
            break;
        default:
            machine.current_state = Fault;
            break;
    }

    // Time based transitions:
    if (machine.current_state == Launch || machine.current_state == Guidance
        || machine.current_state == Recovery) {
        if (time_flight >= RECOVERY_DEPLOYMENT_TIME
            && time_flight < MAX_FLIGHT_TIME) {
            machine.current_state = Recovery;
        } else if (time_flight >= MAX_FLIGHT_TIME) {
            machine.current_state = Landing;
        }
    }

    if (machine.current_state > temp_state) {
        machine.previous_state = temp_state;
        entry_action(machine.current_state, k, now_ns);
    }

    if (machine.current_state != Fault && machine.current_state != Abort
        && machine.current_state != Safe && machine.current_state != Boot
        && machine.current_state != Recovery
        && machine.current_state
            != Landing) {  // Safe and terminal states never go to fault.
        if (fault_check(k, is)) {
            if (machine.fault_activation_time == 0.0f) {
                machine.fault_activation_time = now_ns;
            } else if ((now_ns - machine.fault_activation_time)
                       >= FAULT_CONFIRMATION_TIME * 1e9f) {
                machine.fault_activation_time = 0.0f;
                machine.previous_state = machine.current_state;
                machine.current_state = Fault;
                entry_action(machine.current_state, k, now_ns);
            }
        } else {
            machine.fault_activation_time =
                0.0f;  // Fault disappeared. Reset time.
        }
    } else {
        machine.fault_activation_time =
            0.0f;  // No fault checking necessary in current state. Reset time.
    }
    return machine.current_state;
}
```
